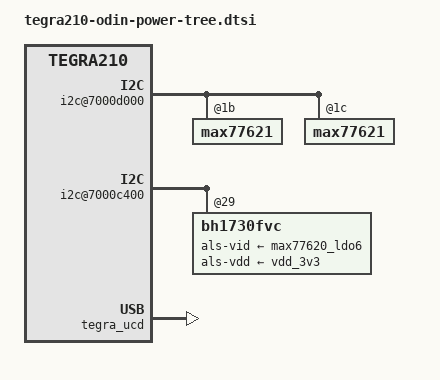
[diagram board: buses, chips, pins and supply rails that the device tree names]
/*
 * Copyright (c) 2019-2020, Billy Laws <blaws05@gmail.com>
 * Copyright (c) 2019-2022, CTCaer <ctcaer@gmail.com>
 *
 * This program is free software; you can redistribute it and/or modify
 * it under the terms of the GNU General Public License as published by
 * the Free Software Foundation; version 2 of the License.
 *
 * This program is distributed in the hope that it will be useful, but WITHOUT
 * ANY WARRANTY; without even the implied warranty of MERCHANTABILITY or
 * FITNESS FOR A PARTICULAR PURPOSE.  See the GNU General Public License for
 * more details.
 *
 */

#include "tegra210-odin-pmic.dtsi"
#include "tegra210-nx-power-fixed.dtsi"
#include <t210-common-platforms/tegra210-ers-power-dvfs-e2174-1101-a00.dtsi>

/ {

	dfll-ovr@70110000 {
		status = "disabled";
	};

	dfll-max77621@70110000 {
		status = "disabled";
	};

	pwm_regulators {
		pwm-regulator@0 {
			status = "disabled";
		};

		pwm-regulator@1 {
			/delete-property/ pwms;
			status = "disabled";
		};
	};

	i2c@7000d000 {
		max77621@1b {
			status = "okay";
		};

		max77621@1c {
			status = "okay";
		};
	};

	dvfs_rails {
		vdd-cpu-rail-ovr@0 {
			status = "disabled";
		};

		vdd-gpu-rail-ovr@1 {
			status = "disabled";
		};

		vdd-cpu-rail-max77621@2 {
			status = "okay";
		};

		vdd-gpu-rail-max77621@3 {
			status = "okay";
		};
	};

	regulators {
		max77620_gpio7: regulator@2 {
			status = "okay"; /* Only enabled on Icosa */
		};

		v_vdd5v3: regulator@0xb {
			status = "disabled"; /* Only enabled on Modin/Vali/Fric */
		};

		vdd3v3_gc: regulator@0xc {
			status = "okay"; /* Only on Icosa */
		};
	};

	cpuidle {
		vdd-cpu-supply = <&cpu_max77621_reg>;
		cc4-microvolt = <618750>;
	};

	dummy_cool_dev: dummy-cool-dev {
		compatible = "dummy-cooling-dev";
		#cooling-cells = <2>; /* min followed by max */
	};

	thermal-zones {
		PMIC-Die {
			polling-delay = <0>; /* milliseconds */
			polling-delay-passive = <0>; /* milliseconds */

			thermal-sensors = <&max77620>;
			trips {
				die_temp_thresh: hot-die {
					temperature = <120000>;
					type = "active";
					hysteresis = <0>;
				};
			};

			cooling-maps {
				map0 {
					trip = <&die_temp_thresh>;
					cooling-device = <&dummy_cool_dev THERMAL_NO_LIMIT
								THERMAL_NO_LIMIT>;
					contribution = <100>;
					cdev-type = "emergency-balanced";
				};
			};
		};
	};

	i2c@7000c400 {
		bh1730fvc@29 {
			als-vid-supply = <&max77620_ldo6>;
			als-vdd-supply = <&vdd_3v3>;
		};
	};

	i2c@546c0000 {
		bus-pullup-supply = <&battery_reg>;
	};

	efuse@7000f800 {
		vpp_fuse-supply = <&max77620_sd3>;
	};

	host1x {
		/* tegradc.0 */
		dc@54200000 {
			avdd_dsi_csi-supply = <&max77620_gpio7>;
			pavdd_lcd-supply = <&v_pavdd_5v0>;
			navdd_lcd-supply = <&v_navdd_5v0>;
			dvdd_lcd-supply = <&max77620_sd3>;
			vdd_lcd_bl_en-supply = <&lcd_bl_en>;
		};

		/* tegradc.1 */
		dc@54240000 {
			vdd-dp-pwr-supply = <&vdd_3v3>;
			avdd-dp-pll-supply = <&max77620_sd3>;
			vdd-dp-pad-supply = <&max77620_ldo8>;
		};

		vi {
			avdd_dsi_csi-supply = <&max77620_gpio7>;
		};
	};

	sound_card: sound {
		spkvdd-supply = <&battery_reg>;
		dbvdd-supply = <&max77620_sd3>;
		avdd-supply = <&max77620_sd3>;
	};

	pmc-iopower {
		vddio-sys-supply = <&max77620_sd3>;
		vddio-uart-supply = <&max77620_sd3>;
		vddio-audio-supply = <&max77620_sd3>;
		vddio-cam-supply = <&max77620_sd3>;
		vddio-pex-ctrl-supply = <&max77620_sd3>;
		vddio-sdmmc1-supply = <&max77620_ldo2>;
		vddio-sdmmc3-supply = <&max77620_sd3>;
		vddio-sdmmc4-supply = <&max77620_sd3>;
		vddio-audio-hv-supply = <&max77620_sd3>;
		vddio-debug-supply = <&max77620_sd3>;
		vddio-dbg-supply = <&max77620_sd3>;
		vddio-dmic-supply = <&max77620_sd3>;
		vddio-gpio-supply = <&max77620_sd3>;
		vddio-spi-supply = <&max77620_sd3>;
		vddio-spi-hv-supply = <&max77620_sd3>;
		vddio-sdmmc2-supply = <&max77620_sd3>;
		vddio-dp-supply = <&max77620_sd3>;
	};

	tegra_ucd: usb_cd {
		usb_bat_chg-supply = <&battery_charger>;
		phys = <&{/xusb_padctl@7009f000/pads/usb2/lanes/usb2-0}>;
		phy-names = "otg-phy";
		nvidia,cdp-current-limit-ua = <1500000>;
		nvidia,dcp-current-limit-ua = <1500000>;
		status = "okay";
		#extcon-cells = <1>;
		extcon-cables = <&bm92t 2>;
		extcon-cable-names = "pd";
	};

	xusb@70090000 {
		hvdd_usb-supply = <&vdd_3v3>;
		avdd_pll_utmip-supply = <&max77620_sd3>;
		vddio_hsic-supply = <&max77620_sd3>;
		avddio_usb-supply = <&max77620_ldo1>;
		dvdd_sata-supply = <&max77620_ldo8>;
		avddio_pll_uerefe-supply = <&max77620_ldo7>;
	};

	xudc@700d0000 {
		hvdd_usb-supply = <&vdd_3v3>;
		avdd_pll_utmip-supply = <&max77620_sd3>;
		avddio_usb-supply = <&max77620_ldo1>;
		avddio_pll_uerefe-supply = <&max77620_ldo7>;
	};

	xusb_padctl@7009f000 {
		vddio-hsic-supply = <&max77620_sd3>;
		avdd_pll_uerefe-supply = <&max77620_ldo7>;
		hvdd_pex_pll_e-supply = <&max77620_sd3>;
		dvdd_pex_pll-supply = <&max77620_ldo1>;
		hvddio_pex-supply = <&max77620_sd3>;
		dvddio_pex-supply = <&max77620_ldo1>;
		hvdd_sata-supply = <&max77620_sd3>;
		dvdd_sata_pll-supply = <&max77620_ldo8>;
		hvddio_sata-supply = <&max77620_sd3>;
		dvddio_sata-supply = <&max77620_ldo8>;

		ports {
			usb2-0 {
				vbus-supply = <&battery_reg>;
			};
		};
	};

	sdhci@700b0600 {
		vqmmc-supply = <&max77620_sd3>;
		vmmc-supply = <&vdd_3v3>;
	};

	sdhci@700b0400 {
		vqmmc-supply = <&max77620_sd3>;
		vmmc-supply = <&vdd_3v3>;
	};

	sdhci@700b0200 {
		vqmmc-supply = <&max77620_sd3>;
		vmmc-supply = <&vdd_3v3>;
	};

	sdhci@700b0000 {
		vqmmc-supply = <&max77620_ldo2>;
		vmmc-supply = <&en_vdd_sd>;
	};

	sata@70020000 {
		hvdd_sata-supply = <&max77620_sd3>;
		hvdd_pex_pll_e-supply = <&max77620_sd3>;
		l0_hvddio_sata-supply = <&max77620_sd3>;
		l0_dvddio_sata-supply = <&max77620_ldo8>;
		dvdd_sata_pll-supply = <&max77620_ldo8>;
	};

	bluedroid_pm {
		avdd-supply = <&battery_reg>;
		dvdd-supply = <&max77620_sd3>;
	};

	pwm-fan {
		vdd-fan-supply = <&v_vdd50_a>;
	};
};
